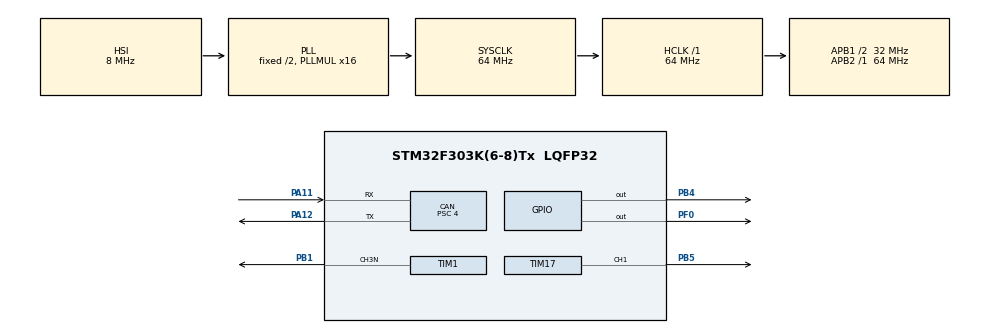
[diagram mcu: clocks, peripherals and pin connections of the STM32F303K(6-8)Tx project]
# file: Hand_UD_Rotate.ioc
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CAN.BS1=CAN_BS1_13TQ
CAN.BS2=CAN_BS2_4TQ
CAN.CalculateBaudRate=444444
CAN.CalculateTimeBit=2250.00
CAN.CalculateTimeQuantum=125.0
CAN.Prescaler=4
Mcu.Family=STM32F3
Mcu.Name=STM32F303K(6-8)Tx
Mcu.Package=LQFP32
NVIC.CAN_RX0_IRQn=true\:0\:0\:false\:false\:true\:true\:true
NVIC.PriorityGroup=NVIC_PRIORITYGROUP_4
NVIC.TIM1_TRG_COM_TIM17_IRQn=true\:0\:0\:false\:false\:true\:true\:true
PA11.Mode=CAN_Activate
PA11.Signal=CAN_RX
PA12.Mode=CAN_Activate
PA12.Signal=CAN_TX
PB1.Mode=PWM Generation3 CH3N
PB1.Signal=TIM1_CH3N
PB4.Signal=GPIO_Output
PB5.Signal=S_TIM17_CH1
PF0\ /\ OSC_IN.Signal=GPIO_Output
ProjectManager.HeapSize=0x200
ProjectManager.StackSize=0x400
ProjectManager.TargetToolchain=STM32CubeIDE
RCC.AHBFreq_Value=64000000
RCC.APB1CLKDivider=RCC_HCLK_DIV2
RCC.APB1Freq_Value=32000000
RCC.APB1TimFreq_Value=64000000
RCC.APB2Freq_Value=64000000
RCC.APB2TimFreq_Value=64000000
RCC.CortexFreq_Value=64000000
RCC.HCLKFreq_Value=64000000
RCC.HSE_VALUE=8000000
RCC.HSI_VALUE=8000000
RCC.PLLMUL=RCC_PLL_MUL16
RCC.SYSCLKFreq_VALUE=64000000
RCC.SYSCLKSourceVirtual=RCC_SYSCLKSOURCE_PLLCLK
SH.S_TIM17_CH1.0=TIM17_CH1,PWM Generation1 CH1
TIM1.Channel-PWM\ Generation3\ CH3N=TIM_CHANNEL_3
TIM1.Period=999
TIM1.Prescaler=31
TIM17.Channel=TIM_CHANNEL_1
TIM17.Period=999
TIM17.Prescaler=31
VP_TIM17_VS_ClockSourceINT.Mode=Enable_Timer
VP_TIM1_VS_ClockSourceINT.Mode=Internal
board=custom

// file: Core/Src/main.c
/* USER CODE BEGIN Header */
/**
  ******************************************************************************
  * @file           : main.c
  * @brief          : Main program body
  ******************************************************************************
  * @attention
  *
  * <h2><center>&copy; Copyright (c) 2021 STMicroelectronics.
  * All rights reserved.</center></h2>
  *
  * This software component is licensed by ST under BSD 3-Clause license,
  * the "License"; You may not use this file except in compliance with the
  * License. You may obtain a copy of the License at:
  *                        opensource.org/licenses/BSD-3-Clause
  *
  ******************************************************************************
  */
/* USER CODE END Header */
#include "main.h"

CAN_HandleTypeDef hcan;

TIM_HandleTypeDef htim1;
TIM_HandleTypeDef htim17;

void SystemClock_Config(void);
static void MX_GPIO_Init(void);
static void MX_CAN_Init(void);
static void MX_TIM1_Init(void);
static void MX_TIM17_Init(void);

/* USER CODE BEGIN 0 */

CAN_FilterTypeDef filter;
void Filter_Init(){
	filter.FilterIdHigh         = 0;
	filter.FilterIdLow          = 0;
	filter.FilterMaskIdHigh     = 0;
	filter.FilterMaskIdLow      = 0;
	filter.FilterScale          = CAN_FILTERSCALE_32BIT;
	filter.FilterFIFOAssignment = CAN_FILTER_FIFO0;
	filter.FilterBank           = 0;
	filter.FilterMode           = CAN_FILTERMODE_IDMASK;
	filter.SlaveStartFilterBank = 14;
	filter.FilterActivation     = ENABLE;
	HAL_CAN_ConfigFilter(&hcan, &filter);
}

uint32_t id;
uint32_t dlc;
uint8_t data[8];

CAN_TxHeaderTypeDef TxHeader;
uint32_t TxMailbox;
uint8_t TxData[8];

#define UD_SPEED 280
#define ROTATE_SPEED 100

int adjust_speed=1;

void HAL_CAN_RxFifo0MsgPendingCallback(CAN_HandleTypeDef *hcan)
{

	CAN_RxHeaderTypeDef RxHeader;
	uint8_t RxData[8];

    if (HAL_CAN_GetRxMessage(hcan, CAN_RX_FIFO0, &RxHeader, RxData) == HAL_OK)
    {
    	if(RxHeader.StdId==0x552){
			id = (RxHeader.IDE == CAN_ID_STD)? RxHeader.StdId : RxHeader.ExtId;     // ID
			dlc = RxHeader.DLC;                                                     // DLC
			if(RxData[7]=='N'){
				adjust_speed=1;
			}
			else{
				adjust_speed=2;
			}

			if(RxData[0]=='U'){                                                    // Data
				HAL_GPIO_WritePin(GPIOF, GPIO_PIN_0, GPIO_PIN_SET);
				__HAL_TIM_SET_COMPARE(&htim1,TIM_CHANNEL_3,UD_SPEED / adjust_speed);
			}
			else if(RxData[0]=='D'){
				HAL_GPIO_WritePin(GPIOF, GPIO_PIN_0, GPIO_PIN_RESET);
				__HAL_TIM_SET_COMPARE(&htim1,TIM_CHANNEL_3,UD_SPEED / adjust_speed);
			}
			else if(RxData[0]=='N'){
				//HAL_GPIO_WritePin(GPIOF, GPIO_PIN_0, GPIO_PIN_RESET);
				__HAL_TIM_SET_COMPARE(&htim1,TIM_CHANNEL_3, 0);
			}

			if(RxData[5]=='L'){                                                    // Data
				HAL_GPIO_WritePin(GPIOB, GPIO_PIN_4, GPIO_PIN_RESET);
				__HAL_TIM_SET_COMPARE(&htim17,TIM_CHANNEL_1,ROTATE_SPEED / adjust_speed);
			}
			else if(RxData[5]=='R'){
				HAL_GPIO_WritePin(GPIOB, GPIO_PIN_4, GPIO_PIN_SET);
				__HAL_TIM_SET_COMPARE(&htim17,TIM_CHANNEL_1,ROTATE_SPEED / adjust_speed);
			}
			else if(RxData[5]=='N'){
				//HAL_GPIO_WritePin(GPIOB, GPIO_PIN_4, GPIO_PIN_RESET);
				__HAL_TIM_SET_COMPARE(&htim17,TIM_CHANNEL_1, 0);
			}

			data[1] = RxData[1];
			data[2] = RxData[2];
			data[3] = RxData[3];
			data[4] = RxData[4];
			data[6] = RxData[6];
			data[7] = RxData[7];
    	}
    }

}

/* USER CODE END 0 */

int main(void)
{

  /* MCU Configuration--------------------------------------------------------*/

  /* Reset of all peripherals, Initializes the Flash interface and the Systick. */
  HAL_Init();

  /* Configure the system clock */
  SystemClock_Config();

  /* Initialize all configured peripherals */
  MX_GPIO_Init();
  MX_CAN_Init();
  MX_TIM1_Init();
  MX_TIM17_Init();
  /* USER CODE BEGIN 2 */

	/*if(HAL_TIM_PWM_Start(&htim1, TIM_CHANNEL_3)!=HAL_OK){
	  Error_Handler();
	}*/

	if(HAL_TIM_PWM_Start(&htim17, TIM_CHANNEL_1)!=HAL_OK){
	  Error_Handler();
	}

  HAL_CAN_Start(&hcan);
  Filter_Init();
  HAL_CAN_ActivateNotification(&hcan, CAN_IT_RX_FIFO0_MSG_PENDING);

  HAL_TIM_Base_Start(&htim1);
  HAL_TIM_PWM_Start(&htim1, TIM_CHANNEL_3);
  TIM_CCxChannelCmd(htim1.Instance, TIM_CHANNEL_3, TIM_CCxN_ENABLE);

  /* USER CODE END 2 */

  /* Infinite loop */
  while (1)
  {

  }
}

void SystemClock_Config(void)
{
  RCC_OscInitTypeDef RCC_OscInitStruct = {0};
  RCC_ClkInitTypeDef RCC_ClkInitStruct = {0};
  RCC_PeriphCLKInitTypeDef PeriphClkInit = {0};

  /** Initializes the RCC Oscillators according to the specified parameters
  * in the RCC_OscInitTypeDef structure.
  */
  RCC_OscInitStruct.OscillatorType = RCC_OSCILLATORTYPE_HSI;
  RCC_OscInitStruct.HSIState = RCC_HSI_ON;
  RCC_OscInitStruct.HSICalibrationValue = RCC_HSICALIBRATION_DEFAULT;
  RCC_OscInitStruct.PLL.PLLState = RCC_PLL_ON;
  RCC_OscInitStruct.PLL.PLLSource = RCC_PLLSOURCE_HSI;
  RCC_OscInitStruct.PLL.PLLMUL = RCC_PLL_MUL16;
  if (HAL_RCC_OscConfig(&RCC_OscInitStruct) != HAL_OK)
  {
    Error_Handler();
  }
  /** Initializes the CPU, AHB and APB buses clocks
  */
  RCC_ClkInitStruct.ClockType = RCC_CLOCKTYPE_HCLK|RCC_CLOCKTYPE_SYSCLK
                              |RCC_CLOCKTYPE_PCLK1|RCC_CLOCKTYPE_PCLK2;
  RCC_ClkInitStruct.SYSCLKSource = RCC_SYSCLKSOURCE_PLLCLK;
  RCC_ClkInitStruct.AHBCLKDivider = RCC_SYSCLK_DIV1;
  RCC_ClkInitStruct.APB1CLKDivider = RCC_HCLK_DIV2;
  RCC_ClkInitStruct.APB2CLKDivider = RCC_HCLK_DIV1;

  if (HAL_RCC_ClockConfig(&RCC_ClkInitStruct, FLASH_LATENCY_2) != HAL_OK)
  {
    Error_Handler();
  }
  PeriphClkInit.PeriphClockSelection = RCC_PERIPHCLK_TIM1;
  PeriphClkInit.Tim1ClockSelection = RCC_TIM1CLK_HCLK;
  if (HAL_RCCEx_PeriphCLKConfig(&PeriphClkInit) != HAL_OK)
  {
    Error_Handler();
  }
}

static void MX_CAN_Init(void)
{

  hcan.Instance = CAN;
  hcan.Init.Prescaler = 4;
  hcan.Init.Mode = CAN_MODE_NORMAL;
  hcan.Init.SyncJumpWidth = CAN_SJW_1TQ;
  hcan.Init.TimeSeg1 = CAN_BS1_13TQ;
  hcan.Init.TimeSeg2 = CAN_BS2_4TQ;
  hcan.Init.TimeTriggeredMode = DISABLE;
  hcan.Init.AutoBusOff = DISABLE;
  hcan.Init.AutoWakeUp = DISABLE;
  hcan.Init.AutoRetransmission = DISABLE;
  hcan.Init.ReceiveFifoLocked = DISABLE;
  hcan.Init.TransmitFifoPriority = DISABLE;
  if (HAL_CAN_Init(&hcan) != HAL_OK)
  {
    Error_Handler();
  }

}

static void MX_TIM1_Init(void)
{

  TIM_ClockConfigTypeDef sClockSourceConfig = {0};
  TIM_MasterConfigTypeDef sMasterConfig = {0};
  TIM_OC_InitTypeDef sConfigOC = {0};
  TIM_BreakDeadTimeConfigTypeDef sBreakDeadTimeConfig = {0};

  htim1.Instance = TIM1;
  htim1.Init.Prescaler = 31;
  htim1.Init.CounterMode = TIM_COUNTERMODE_UP;
  htim1.Init.Period = 999;
  htim1.Init.ClockDivision = TIM_CLOCKDIVISION_DIV1;
  htim1.Init.RepetitionCounter = 0;
  htim1.Init.AutoReloadPreload = TIM_AUTORELOAD_PRELOAD_DISABLE;
  if (HAL_TIM_Base_Init(&htim1) != HAL_OK)
  {
    Error_Handler();
  }
  sClockSourceConfig.ClockSource = TIM_CLOCKSOURCE_INTERNAL;
  if (HAL_TIM_ConfigClockSource(&htim1, &sClockSourceConfig) != HAL_OK)
  {
    Error_Handler();
  }
  if (HAL_TIM_PWM_Init(&htim1) != HAL_OK)
  {
    Error_Handler();
  }
  sMasterConfig.MasterOutputTrigger = TIM_TRGO_RESET;
  sMasterConfig.MasterOutputTrigger2 = TIM_TRGO2_RESET;
  sMasterConfig.MasterSlaveMode = TIM_MASTERSLAVEMODE_DISABLE;
  if (HAL_TIMEx_MasterConfigSynchronization(&htim1, &sMasterConfig) != HAL_OK)
  {
    Error_Handler();
  }
  sConfigOC.OCMode = TIM_OCMODE_PWM1;
  sConfigOC.Pulse = 0;
  sConfigOC.OCPolarity = TIM_OCPOLARITY_HIGH;
  sConfigOC.OCNPolarity = TIM_OCNPOLARITY_HIGH;
  sConfigOC.OCFastMode = TIM_OCFAST_DISABLE;
  sConfigOC.OCIdleState = TIM_OCIDLESTATE_RESET;
  sConfigOC.OCNIdleState = TIM_OCNIDLESTATE_RESET;
  if (HAL_TIM_PWM_ConfigChannel(&htim1, &sConfigOC, TIM_CHANNEL_3) != HAL_OK)
  {
    Error_Handler();
  }
  sBreakDeadTimeConfig.OffStateRunMode = TIM_OSSR_DISABLE;
  sBreakDeadTimeConfig.OffStateIDLEMode = TIM_OSSI_DISABLE;
  sBreakDeadTimeConfig.LockLevel = TIM_LOCKLEVEL_OFF;
  sBreakDeadTimeConfig.DeadTime = 0;
  sBreakDeadTimeConfig.BreakState = TIM_BREAK_DISABLE;
  sBreakDeadTimeConfig.BreakPolarity = TIM_BREAKPOLARITY_HIGH;
  sBreakDeadTimeConfig.BreakFilter = 0;
  sBreakDeadTimeConfig.Break2State = TIM_BREAK2_DISABLE;
  sBreakDeadTimeConfig.Break2Polarity = TIM_BREAK2POLARITY_HIGH;
  sBreakDeadTimeConfig.Break2Filter = 0;
  sBreakDeadTimeConfig.AutomaticOutput = TIM_AUTOMATICOUTPUT_DISABLE;
  if (HAL_TIMEx_ConfigBreakDeadTime(&htim1, &sBreakDeadTimeConfig) != HAL_OK)
  {
    Error_Handler();
  }
  HAL_TIM_MspPostInit(&htim1);

}

static void MX_TIM17_Init(void)
{

  TIM_OC_InitTypeDef sConfigOC = {0};
  TIM_BreakDeadTimeConfigTypeDef sBreakDeadTimeConfig = {0};

  htim17.Instance = TIM17;
  htim17.Init.Prescaler = 31;
  htim17.Init.CounterMode = TIM_COUNTERMODE_UP;
  htim17.Init.Period = 999;
  htim17.Init.ClockDivision = TIM_CLOCKDIVISION_DIV1;
  htim17.Init.RepetitionCounter = 0;
  htim17.Init.AutoReloadPreload = TIM_AUTORELOAD_PRELOAD_DISABLE;
  if (HAL_TIM_Base_Init(&htim17) != HAL_OK)
  {
    Error_Handler();
  }
  if (HAL_TIM_PWM_Init(&htim17) != HAL_OK)
  {
    Error_Handler();
  }
  sConfigOC.OCMode = TIM_OCMODE_PWM1;
  sConfigOC.Pulse = 0;
  sConfigOC.OCPolarity = TIM_OCPOLARITY_HIGH;
  sConfigOC.OCNPolarity = TIM_OCNPOLARITY_HIGH;
  sConfigOC.OCFastMode = TIM_OCFAST_DISABLE;
  sConfigOC.OCIdleState = TIM_OCIDLESTATE_RESET;
  sConfigOC.OCNIdleState = TIM_OCNIDLESTATE_RESET;
  if (HAL_TIM_PWM_ConfigChannel(&htim17, &sConfigOC, TIM_CHANNEL_1) != HAL_OK)
  {
    Error_Handler();
  }
  sBreakDeadTimeConfig.OffStateRunMode = TIM_OSSR_DISABLE;
  sBreakDeadTimeConfig.OffStateIDLEMode = TIM_OSSI_DISABLE;
  sBreakDeadTimeConfig.LockLevel = TIM_LOCKLEVEL_OFF;
  sBreakDeadTimeConfig.DeadTime = 0;
  sBreakDeadTimeConfig.BreakState = TIM_BREAK_DISABLE;
  sBreakDeadTimeConfig.BreakPolarity = TIM_BREAKPOLARITY_HIGH;
  sBreakDeadTimeConfig.BreakFilter = 0;
  sBreakDeadTimeConfig.AutomaticOutput = TIM_AUTOMATICOUTPUT_DISABLE;
  if (HAL_TIMEx_ConfigBreakDeadTime(&htim17, &sBreakDeadTimeConfig) != HAL_OK)
  {
    Error_Handler();
  }
  HAL_TIM_MspPostInit(&htim17);

}

static void MX_GPIO_Init(void)
{
  GPIO_InitTypeDef GPIO_InitStruct = {0};

  /* GPIO Ports Clock Enable */
  __HAL_RCC_GPIOF_CLK_ENABLE();
  __HAL_RCC_GPIOB_CLK_ENABLE();
  __HAL_RCC_GPIOA_CLK_ENABLE();

  /*Configure GPIO pin Output Level */
  HAL_GPIO_WritePin(GPIOF, GPIO_PIN_0, GPIO_PIN_RESET);

  /*Configure GPIO pin Output Level */
  HAL_GPIO_WritePin(GPIOB, GPIO_PIN_4, GPIO_PIN_RESET);

  /*Configure GPIO pin : PF0 */
  GPIO_InitStruct.Pin = GPIO_PIN_0;
  GPIO_InitStruct.Mode = GPIO_MODE_OUTPUT_PP;
  GPIO_InitStruct.Pull = GPIO_NOPULL;
  GPIO_InitStruct.Speed = GPIO_SPEED_FREQ_LOW;
  HAL_GPIO_Init(GPIOF, &GPIO_InitStruct);

  /*Configure GPIO pin : PB4 */
  GPIO_InitStruct.Pin = GPIO_PIN_4;
  GPIO_InitStruct.Mode = GPIO_MODE_OUTPUT_PP;
  GPIO_InitStruct.Pull = GPIO_NOPULL;
  GPIO_InitStruct.Speed = GPIO_SPEED_FREQ_LOW;
  HAL_GPIO_Init(GPIOB, &GPIO_InitStruct);

}

void Error_Handler(void)
{
  __disable_irq();
  while (1)
  {
  }
}

/************************ (C) COPYRIGHT STMicroelectronics *****END OF FILE****/
